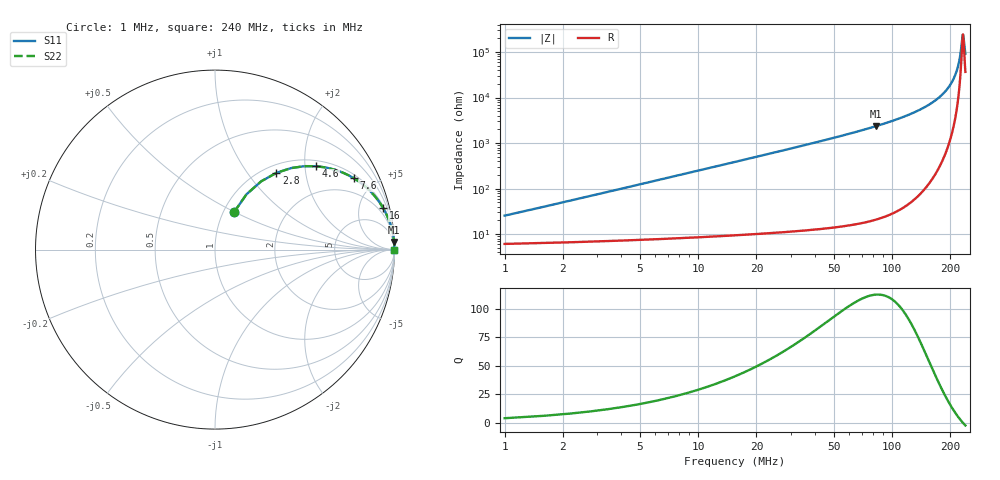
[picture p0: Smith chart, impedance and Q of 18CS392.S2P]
! Coilcraft 1812CS-392 Chip Inductor
! 31 July 2002
# MHZ S MA R 50
!Freq  MagS11  AngS11  MagS21  AngS21  MagS12  AngS12  MagS22  AngS22
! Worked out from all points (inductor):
!   400 points, 1 MHz to 240 MHz, reference 50 ohm
!   read as one part in series: L = 3.95 uH near 2.2 MHz
!   highest Q = 113 at 83.2 MHz (marker M1), where L = 4.53 uH
!   self-resonance near 232.6 MHz
!   S11 on the Smith chart (normalised r, x): 1 MHz: 1.12, +0.50; 2.8 MHz: 1.14, +1.39; 4.6 MHz: 1.15, +2.28; 7.6 MHz: 1.16, +3.78; 16 MHz: 1.19, +7.98; 240 MHz: open
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1  0.2346 63.0  0.9176 -13.2  0.9176 -13.2  0.2346 63.0
1.6  0.3542 60.4  0.8804 -20.5  0.8804 -20.5  0.3542 60.4
2.8  0.5478 51.3  0.7844 -33.0  0.7844 -33.0  0.5478 51.3
4.6  0.73 39.5  0.6378 -46.8  0.6378 -46.8  0.73 39.5
5.8  0.802 33.7  0.556 -53.2  0.556 -53.2  0.802 33.7
7.6  0.8687 27.3  0.4596 -60.2  0.4596 -60.2  0.8687 27.3
11.2  0.932 19.5  0.3343 -68.7  0.3343 -68.7  0.932 19.5
16  0.9646 14.0  0.2417 -74.6  0.2417 -74.6  0.9646 14.0
26.8  0.9868 8.4  0.1464 -80.7  0.1464 -80.7  0.9868 8.4
41.2  0.9944 5.4  0.09421 -83.9  0.09421 -83.9  0.9944 5.4
80.8  0.9987 2.5  0.04382 -87.0  0.04382 -87.0  0.9987 2.5
83.2  0.9987 2.4  0.04221 -87.1  0.04221 -87.1  0.9987 2.4
121  0.9994 1.4  0.02432 -88.0  0.02432 -88.0  0.9994 1.4
160.6  0.9996 0.8  0.01318 -88.1  0.01318 -88.1  0.9996 0.8
183.4  0.9997 0.5  0.008378 -87.5  0.008378 -87.5  0.9997 0.5
200.2  0.9997 0.3  0.005296 -86.1  0.005296 -86.1  0.9997 0.3
212.2  0.9996 0.2  0.003279 -83.5  0.003279 -83.5  0.9996 0.2
220.6  0.9996 0.1  0.001952 -78.7  0.001952 -78.7  0.9996 0.1
226  0.9996 0.1  0.001148 -69.9  0.001148 -69.9  0.9996 0.1
232.6  0.9996 0.0  0.0004194 -11.6  0.0004194 -11.6  0.9996 0.0
234.4  0.9996 -0.0  0.0004537 23.6  0.0004537 23.6  0.9996 -0.0
240  0.9996 -0.1  0.001086 66.5  0.001086 66.5  0.9996 -0.1
